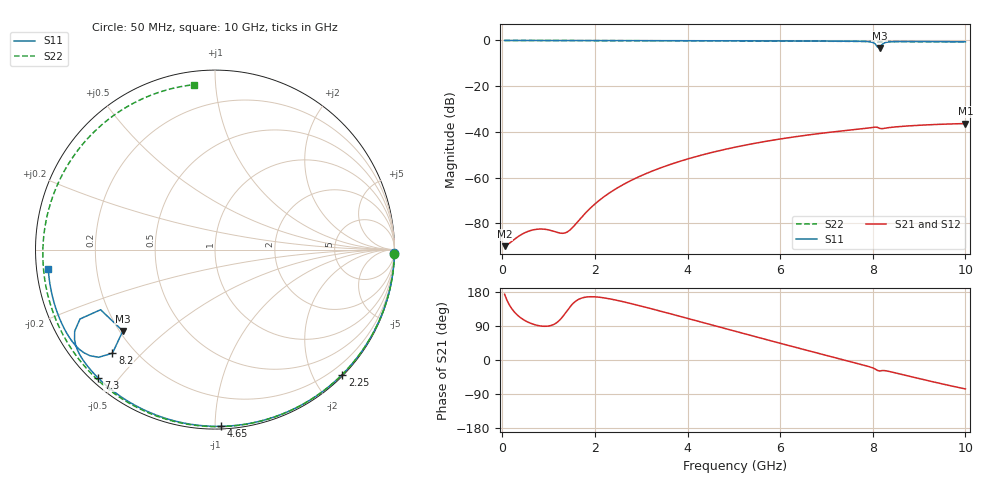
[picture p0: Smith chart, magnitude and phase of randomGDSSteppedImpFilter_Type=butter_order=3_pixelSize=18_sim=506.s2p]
! freq	dB(S11)	phase(S11)	dB(S12)	phase(S12)
!  dB(S21)	phase(S21)	dB(S22)	phase(S22)
!S-par simulation data
#  GHz  S  DB  R 50
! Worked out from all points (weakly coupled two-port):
!   200 points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, 50 MHz to 10 GHz, reference 50 ohm
!   highest |S21| = -36.33 dB at 10 GHz (marker M1); lowest = -89.9 dB at 50 MHz (marker M2)
!   lowest |S11| = -3.3 dB at 8.15 GHz (marker M3), VSWR 5.35, Z = 10.6 - j18.2 ohm
!   |S11| at or under -10 dB: nowhere
!   |S22| runs from -0.7 to 0.0 dB; largest |S21 - S12| = 0
!   S11 on the Smith chart (normalised r, x): 50 MHz: open; 2.25 GHz: 0.02, -2.44; 4.65 GHz: 0.02, -1.04; 7.3 GHz: 0.02, -0.44; 8.2 GHz: 0.12, -0.41; 10 GHz: 0.03, -0.06
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0.05  -0.00 -1.0  -89.94 173.4  -89.94 173.4  -0.00 -1.4
0.8  -0.02 -16.1  -82.47 90.3  -82.47 90.3  -0.02 -21.9
1.6  -0.04 -31.9  -79.91 156.5  -79.91 156.5  -0.05 -43.2
1.75  -0.04 -34.9  -76.45 164.7  -76.45 164.7  -0.06 -47.2
2.25  -0.06 -44.5  -67.54 162.9  -67.54 162.9  -0.08 -60.1
2.75  -0.07 -53.9  -61.52 149.8  -61.52 149.8  -0.09 -72.7
3.4  -0.09 -65.9  -55.84 129.4  -55.84 129.4  -0.12 -88.7
4.65  -0.13 -88.0  -48.36 88.4  -48.36 88.4  -0.17 -118.3
5.05  -0.15 -94.8  -46.57 75.2  -46.57 75.2  -0.19 -127.6
5.9  -0.19 -108.9  -43.41 47.4  -43.41 47.4  -0.25 -147.4
6.7  -0.24 -122.1  -41.07 21.6  -41.07 21.6  -0.31 -166.5
7.3  -0.29 -132.2  -39.62 2.5  -39.62 2.5  -0.37 178.5
7.8  -0.41 -142.3  -38.53 -13.4  -38.53 -13.4  -0.42 165.4
8  -0.87 -149.8  -38.02 -20.9  -38.02 -20.9  -0.44 160.0
8.05  -1.46 -152.8  -37.90 -23.7  -37.90 -23.7  -0.45 158.6
8.1  -2.85 -152.3  -37.98 -27.4  -37.98 -27.4  -0.45 157.2
8.15  -3.29 -138.6  -38.45 -29.1  -38.45 -29.1  -0.46 155.8
8.2  -1.81 -134.7  -38.57 -27.9  -38.57 -27.9  -0.46 154.4
8.35  -0.64 -141.8  -38.10 -30.1  -38.10 -30.1  -0.48 150.1
8.65  -0.47 -149.5  -37.53 -38.7  -37.53 -38.7  -0.51 141.4
9.25  -0.49 -160.4  -36.83 -56.2  -36.83 -56.2  -0.58 122.7
10  -0.58 -173.3  -36.33 -76.4  -36.33 -76.4  -0.67 97.3
